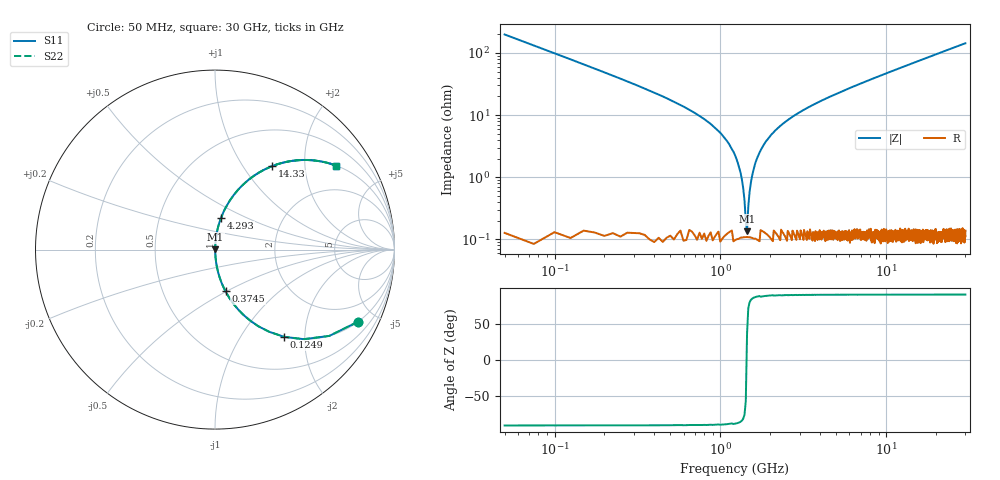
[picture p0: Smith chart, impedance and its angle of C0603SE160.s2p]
!	AVX Thin Film Operation 	Date: April 2014
!	Description: Accu-P® Series, Thin Film  SMD RF Capacitor
!	Part Number: 06035J160FBSTR
# MHZ S MA R 50
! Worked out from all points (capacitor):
!   1201 points, 50 MHz to 30 GHz, reference 50 ohm
!   read as one part in series: C = 16 pF near 199.8 MHz
!   lowest |Z| = 134 mohm at 1.448 GHz (marker M1)
!   series resonance near 1.44 GHz, so ESL is about 760 pH
!   S11 on the Smith chart (normalised r, x): 50 MHz: 1.00, -3.97; 124.9 MHz: 1.00, -1.58; 374.5 MHz: 1.00, -0.50; 4.293 GHz: 1.00, +0.37; 14.33 GHz: 1.00, +1.36; 30 GHz: 1.00, +2.87
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50  0.893 -26.7  0.449 63.3  0.449 63.3  0.893 -26.7
124.875  0.62 -51.6  0.784 38.3  0.784 38.3  0.62 -51.6
249.667  0.36 -68.7  0.932 21.1  0.932 21.1  0.36 -68.7
374.458  0.24 -75.8  0.97 13.9  0.97 13.9  0.24 -75.8
649  0.121 -82.5  0.991 7.0  0.991 7.0  0.121 -82.5
1073.292  0.041 -86.0  0.998 2.4  0.998 2.4  0.041 -86.0
1223.042  0.023 -85.7  0.999 1.3  0.999 1.3  0.023 -85.7
1347.833  0.009164 -82.2  0.999 0.5  0.999 0.5  0.009164 -82.2
1447.667  0.001405 33.7  0.999 -0.0  0.999 -0.0  0.001405 33.7
1547.5  0.01 82.8  0.999 -0.6  0.999 -0.6  0.01 82.8
1647.333  0.019 85.3  0.999 -1.1  0.999 -1.1  0.019 85.3
1772.125  0.029 86.0  0.998 -1.7  0.998 -1.7  0.029 86.0
2171.458  0.058 85.5  0.997 -3.3  0.997 -3.3  0.058 85.5
2970.125  0.108 83.2  0.993 -6.2  0.993 -6.2  0.108 83.2
4292.917  0.18 79.3  0.983 -10.4  0.983 -10.4  0.18 79.3
5041.667  0.217 77.2  0.975 -12.5  0.975 -12.5  0.217 77.2
10058.29  0.427 64.6  0.903 -25.3  0.903 -25.3  0.427 64.6
14326.17  0.562 55.7  0.826 -34.2  0.826 -34.2  0.562 55.7
15025  0.581 54.4  0.813 -35.5  0.813 -35.5  0.581 54.4
20016.67  0.691 46.3  0.722 -43.7  0.722 -43.7  0.691 46.3
25033.29  0.767 39.8  0.641 -50.1  0.641 -50.1  0.767 39.8
30000  0.82 34.8  0.571 -55.1  0.571 -55.1  0.82 34.8
